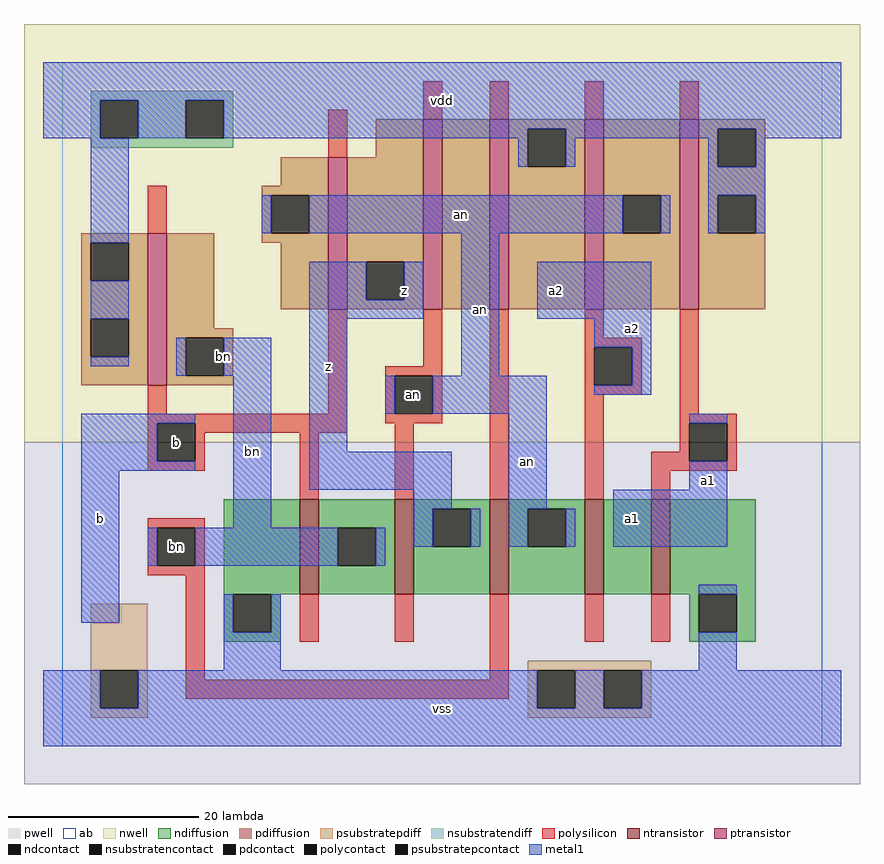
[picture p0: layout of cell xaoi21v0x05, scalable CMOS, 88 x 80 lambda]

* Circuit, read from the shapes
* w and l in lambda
.subckt xaoi21v0x05 a1 a2 an b bn vdd vss z
M1 bn b vss vss nfet w=10 l=2
M2 z an bn vss nfet w=10 l=2
M3 an bn z vss nfet w=10 l=2
M4 n1 a2 an vss nfet w=10 l=2
M5 vss a1 n1 vss nfet w=10 l=2
M6 bn b vdd vdd pfet w=16 l=2
M7 z b an vdd pfet w=16 l=2
M8 n2 an z vdd pfet w=20 l=2
M9 vdd bn n2 vdd pfet w=20 l=2
M10 an a2 vdd vdd pfet w=20 l=2
M11 vdd a1 an vdd pfet w=20 l=2
.ends

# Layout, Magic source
magic
tech scmos
<< ab >>
rect 0 0 80 72
<< pwell >>
rect -4 -4 84 32
<< nwell >>
rect -4 32 84 76
<< polysilicon >>
rect 28 62 30 67
rect 38 66 40 70
rect 45 66 47 70
rect 55 66 57 70
rect 65 66 67 70
rect 9 54 11 59
rect 9 35 11 38
rect 28 35 30 46
rect 38 40 40 46
rect 9 34 30 35
rect 34 39 40 40
rect 34 35 35 39
rect 39 35 40 39
rect 34 34 40 35
rect 9 30 10 34
rect 14 33 30 34
rect 14 30 15 33
rect 9 29 15 30
rect 25 26 27 33
rect 35 26 37 34
rect 45 26 47 46
rect 55 43 57 46
rect 55 42 61 43
rect 55 38 56 42
rect 60 38 61 42
rect 55 37 61 38
rect 55 26 57 37
rect 65 35 67 46
rect 65 34 71 35
rect 65 31 66 34
rect 62 30 66 31
rect 70 30 71 34
rect 62 29 71 30
rect 62 26 64 29
rect 9 23 15 24
rect 9 19 10 23
rect 14 19 15 23
rect 9 18 15 19
rect 13 7 15 18
rect 25 11 27 16
rect 35 11 37 16
rect 45 7 47 16
rect 55 11 57 16
rect 62 11 64 16
rect 13 5 47 7
<< ndiffusion >>
rect 17 16 25 26
rect 27 23 35 26
rect 27 19 29 23
rect 33 19 35 23
rect 27 16 35 19
rect 37 25 45 26
rect 37 21 39 25
rect 43 21 45 25
rect 37 16 45 21
rect 47 25 55 26
rect 47 21 49 25
rect 53 21 55 25
rect 47 16 55 21
rect 57 16 62 26
rect 64 16 73 26
rect 17 12 18 16
rect 22 12 23 16
rect 17 11 23 12
rect 66 12 67 16
rect 71 12 73 16
rect 66 11 73 12
<< pdiffusion >>
rect 33 62 38 66
rect 23 59 28 62
rect 21 58 28 59
rect 21 54 22 58
rect 26 54 28 58
rect 2 53 9 54
rect 2 49 3 53
rect 7 49 9 53
rect 2 45 9 49
rect 2 41 3 45
rect 7 41 9 45
rect 2 38 9 41
rect 11 44 16 54
rect 21 53 28 54
rect 23 46 28 53
rect 30 51 38 62
rect 30 47 32 51
rect 36 47 38 51
rect 30 46 38 47
rect 40 46 45 66
rect 47 65 55 66
rect 47 61 49 65
rect 53 61 55 65
rect 47 46 55 61
rect 57 58 65 66
rect 57 54 59 58
rect 63 54 65 58
rect 57 46 65 54
rect 67 65 74 66
rect 67 61 69 65
rect 73 61 74 65
rect 67 58 74 61
rect 67 54 69 58
rect 73 54 74 58
rect 67 46 74 54
rect 11 43 18 44
rect 11 39 13 43
rect 17 39 18 43
rect 11 38 18 39
<< metal1 >>
rect -2 68 82 72
rect -2 64 4 68
rect 8 64 13 68
rect 17 65 82 68
rect 17 64 49 65
rect 3 53 7 64
rect 48 61 49 64
rect 53 64 69 65
rect 53 61 54 64
rect 68 61 69 64
rect 73 64 82 65
rect 73 61 74 64
rect 68 58 74 61
rect 21 54 22 58
rect 26 54 59 58
rect 63 54 64 58
rect 68 54 69 58
rect 73 54 74 58
rect 3 45 7 49
rect 26 47 32 51
rect 36 47 38 51
rect 26 45 38 47
rect 3 40 7 41
rect 12 39 13 43
rect 17 39 22 43
rect 2 34 14 35
rect 2 30 10 34
rect 2 29 14 30
rect 2 13 6 29
rect 18 23 22 39
rect 26 31 30 45
rect 42 39 46 54
rect 50 45 62 51
rect 56 42 62 45
rect 34 35 35 39
rect 39 35 51 39
rect 60 38 62 42
rect 56 37 62 38
rect 26 27 41 31
rect 37 25 41 27
rect 47 25 51 35
rect 66 34 70 35
rect 66 27 70 30
rect 9 19 10 23
rect 14 19 29 23
rect 33 19 34 23
rect 37 21 39 25
rect 43 21 44 25
rect 47 21 49 25
rect 53 21 54 25
rect 58 21 70 27
rect 67 16 71 17
rect 17 12 18 16
rect 22 12 23 16
rect 17 8 23 12
rect 67 8 71 12
rect -2 4 4 8
rect 8 4 50 8
rect 54 4 57 8
rect 61 4 82 8
rect -2 0 82 4
<< ntransistor >>
rect 25 16 27 26
rect 35 16 37 26
rect 45 16 47 26
rect 55 16 57 26
rect 62 16 64 26
<< ptransistor >>
rect 9 38 11 54
rect 28 46 30 62
rect 38 46 40 66
rect 45 46 47 66
rect 55 46 57 66
rect 65 46 67 66
<< polycontact >>
rect 35 35 39 39
rect 10 30 14 34
rect 56 38 60 42
rect 66 30 70 34
rect 10 19 14 23
<< ndcontact >>
rect 29 19 33 23
rect 39 21 43 25
rect 49 21 53 25
rect 18 12 22 16
rect 67 12 71 16
<< pdcontact >>
rect 22 54 26 58
rect 3 49 7 53
rect 3 41 7 45
rect 32 47 36 51
rect 49 61 53 65
rect 59 54 63 58
rect 69 61 73 65
rect 69 54 73 58
rect 13 39 17 43
<< psubstratepcontact >>
rect 4 4 8 8
rect 50 4 54 8
rect 57 4 61 8
<< nsubstratencontact >>
rect 4 64 8 68
rect 13 64 17 68
<< psubstratepdiff >>
rect 3 8 9 15
rect 3 4 4 8
rect 8 4 9 8
rect 49 8 62 9
rect 3 3 9 4
rect 49 4 50 8
rect 54 4 57 8
rect 61 4 62 8
rect 49 3 62 4
<< nsubstratendiff >>
rect 3 68 18 69
rect 3 64 4 68
rect 8 64 13 68
rect 17 64 18 68
rect 3 63 18 64
<< labels >>
rlabel polycontact 12 21 12 21 6 bn
rlabel polycontact 37 37 37 37 6 an
rlabel polycontact 12 32 12 32 6 b
rlabel metal1 4 24 4 24 6 b
rlabel metal1 28 40 28 40 6 z
rlabel metal1 20 31 20 31 6 bn
rlabel metal1 17 41 17 41 6 bn
rlabel metal1 36 48 36 48 6 z
rlabel metal1 40 4 40 4 6 vss
rlabel metal1 49 30 49 30 6 an
rlabel metal1 52 48 52 48 6 a2
rlabel metal1 44 46 44 46 6 an
rlabel metal1 40 68 40 68 6 vdd
rlabel metal1 60 24 60 24 6 a1
rlabel metal1 68 28 68 28 6 a1
rlabel metal1 60 44 60 44 6 a2
rlabel metal1 42 56 42 56 6 an
<< end >>
